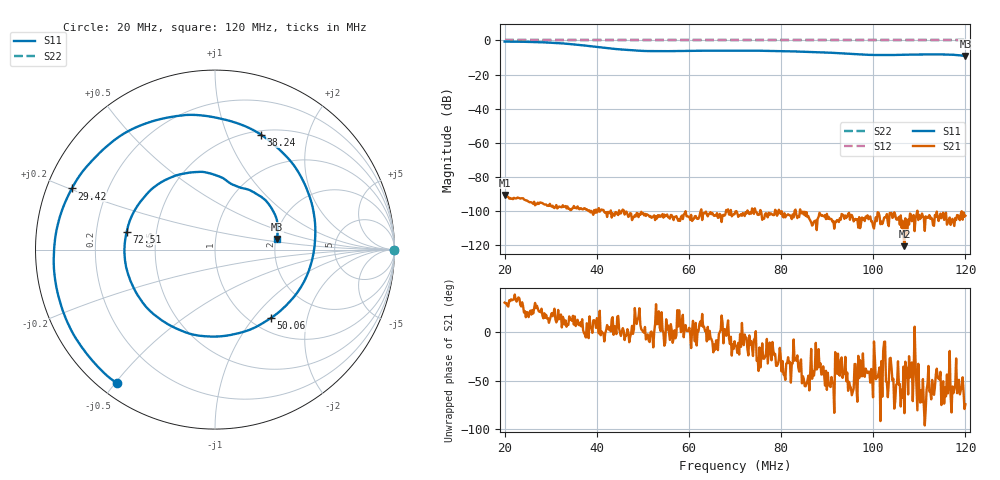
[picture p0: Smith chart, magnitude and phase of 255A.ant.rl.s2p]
! Anritsu VNA Master:  Model: MS2036C/10/77
! SN:  1601066
! /card0/usr/18may27.balun/5a..m.s2p
! Existing Calibration Information:
! TYPE:  Current Settings,  Active Cal Settings
! TIME:  05/27/2018 04:46:04 PM,  05/27/2018 04:42:15 PM
! INTERNAL TEMP:  52.5 C,  52.0 C
! # POINTS:  500,  500
! START FREQ:  20.000 MHz,  20.000 MHz
! STOP FREQ:  120.000 MHz,  120.000 MHz
! SOURCE POWER:  High,  High
! IFBW:  50 Hz,  50 Hz
! AVG FACTOR:  1 ,  1
! REF PLANE 1:  0 mm,  0 mm
! REF PLANE 2:  0 mm,  0 mm
! CAL TYPE:  Full S11,  Full S11
! CAL METHOD:  SOLT,  SOLT
! CAL LINE TYPE:  Coax,  Coax
! DUT PORT 1:  K-Conn(M),  K-Conn(M)
! DUT PORT 2:  K-Conn(M),  K-Conn(M)
! CAL STATUS:  OK: Accuracy High,  --
# GHZ S DB R 50.0
! FREQ.GHZ  S11DB  S11A  S21DB  S21A  S12DB  S12A  S22DB  S22A
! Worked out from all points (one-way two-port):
!   500 points, 20 MHz to 120 MHz, reference 50 ohm
!   highest |S21| = -90.81 dB at 20 MHz (marker M1); lowest = -120.8 dB at 106.8 MHz (marker M2)
!   lowest |S11| = -9.1 dB at 120 MHz (marker M3), VSWR 2.07, Z = 101 + j13.8 ohm
!   |S11| at or under -10 dB: nowhere
!   |S22| runs from 0.0 to 0.0 dB; largest |S21 - S12| = 1
!   S11 on the Smith chart (normalised r, x): 20 MHz: 0.05, -0.51; 29.42 MHz: 0.07, +0.20; 38.24 MHz: 0.54, +1.33; 50.06 MHz: 1.22, -1.23; 72.51 MHz: 0.33, +0.09; 120 MHz: 2.02, +0.28
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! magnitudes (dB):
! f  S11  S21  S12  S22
! 20 MHz  -0.7  -90.8  0.0  0.0
! 25.61 MHz  -0.9  -95.0  0.0  0.0
! 29.42 MHz  -1.2  -97.0  0.0  0.0
! 32.83 MHz  -1.8  -97.8  0.0  0.0
! 36.83 MHz  -2.8  -99.1  0.0  0.0
! 38.24 MHz  -3.2  -100.3  0.0  0.0
! 44.25 MHz  -5.1  -100.9  0.0  0.0
! 50.06 MHz  -6.2  -101.4  0.0  0.0
! 53.47 MHz  -6.3  -103.6  0.0  0.0
! 62.69 MHz  -6.0  -99.2  0.0  0.0
! 70.1 MHz  -5.9  -100.4  0.0  0.0
! 72.51 MHz  -6.0  -101.6  0.0  0.0
! 80.52 MHz  -6.3  -103.9  0.0  0.0
! 86.73 MHz  -6.8  -108.7  0.0  0.0
! 90.74 MHz  -7.2  -104.8  0.0  0.0
! 98.96 MHz  -8.4  -105.0  0.0  0.0
! 103.4 MHz  -8.6  -109.0  0.0  0.0
! 106.8 MHz  -8.4  -120.8  0.0  0.0
! 112.2 MHz  -8.1  -102.5  0.0  0.0
! 115.8 MHz  -8.2  -101.1  0.0  0.0
! 117.8 MHz  -8.5  -104.2  0.0  0.0
! 120 MHz  -9.1  -103.0  0.0  0.0
